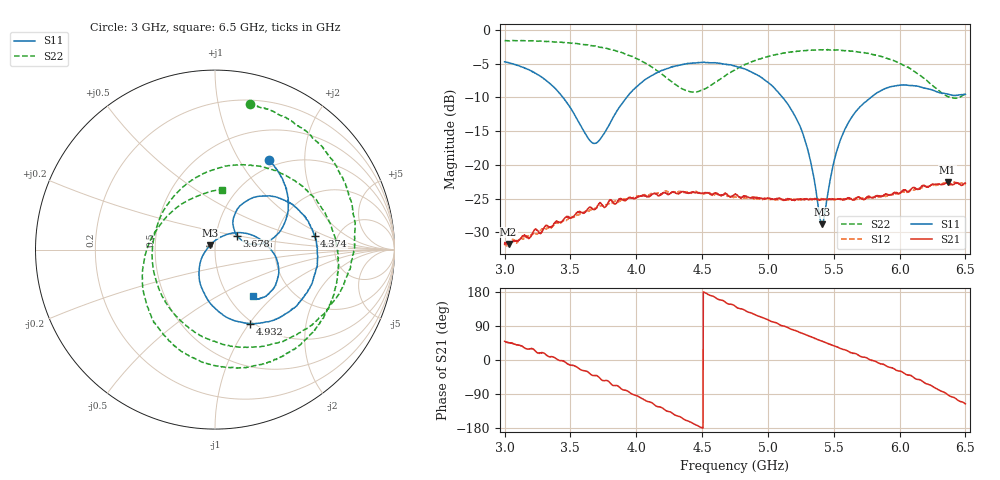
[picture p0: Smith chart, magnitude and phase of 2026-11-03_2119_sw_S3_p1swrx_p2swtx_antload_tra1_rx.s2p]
! HEWLETT PACKARD,8720ES,MY41003347,7.72, via bringup/vna_tests.py
! sw_S3_p1swrx_p2swtx_antload_tra1_rx
! measured 2026-11-03 21:20:45, 1601 points, 3000000000-6500000000 Hz, IF bandwidth 1000 Hz, source -40.00 dBm, kit CALK35MD
! board A, CTRL bits {'tr_a': 1} set before each sweep
# HZ S RI R 50
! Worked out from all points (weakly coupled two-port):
!   1601 points, 3 GHz to 6.5 GHz, reference 50 ohm
!   highest |S21| = -22.59 dB at 6.364 GHz (marker M1); lowest = -31.7 dB at 3.031 GHz (marker M2)
!   lowest |S11| = -28.8 dB at 5.411 GHz (marker M3), VSWR 1.08, Z = 47.4 + j2.38 ohm
!   |S11| at or under -10 dB: 3.443 GHz to 3.927 GHz (483.5 MHz wide, 13.1 % of centre); 5.112 GHz to 5.782 GHz (670 MHz wide, 12.3 % of centre)
!   |S22| runs from -10.1 to -1.5 dB; largest |S21 - S12| = 0.0044
!   S11 on the Smith chart (normalised r, x): 3 GHz: 0.90, +1.35; 3.678 GHz: 1.26, +0.20; 4.374 GHz: 3.37, +0.74; 4.932 GHz: 0.97, -1.01; 6.5 GHz: 1.30, -0.75
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3e9  0.3011 0.4975  0.0169 0.0197  0.0173 0.0191  0.193 0.8138
3.030625e9  0.327 0.4707  0.0181 0.0186  0.0174 0.0184  0.2438 0.7952
3.273438e9  0.4058 0.2033  0.0293 0.00991  0.0309 0.0109  0.5905 0.5802
3.584062e9  0.1881 0.0326  0.0397 -0.02  0.0395 -0.0183  0.778 0.0849
3.678125e9  0.1223 0.0767  0.0351 -0.0307  0.0362 -0.0304  0.7566 -0.0831
3.824688e9  0.1102 0.1959  0.02 -0.0484  0.024 -0.0467  0.6266 -0.3323
3.969062e9  0.2055 0.2874  3.43e-05 -0.0569  0.00138 -0.0568  0.3833 -0.5095
4.168125e9  0.411 0.2636  -0.0322 -0.0495  -0.0341 -0.0518  -0.063 -0.4886
4.37375e9  0.5548 0.0753  -0.0579 -0.0226  -0.0589 -0.0228  -0.3461 -0.0873
4.581562e9  0.5446 -0.1741  -0.0593 0.0118  -0.0578 0.014  -0.1609 0.3641
4.75e9  0.4213 -0.3404  -0.048 0.0372  -0.0452 0.0362  0.1862 0.4692
4.931562e9  0.1975 -0.4125  -0.0243 0.0515  -0.0238 0.0505  0.5103 0.3311
5.1875e9  -0.0615 -0.2396  0.0097 0.0541  0.00837 0.0543  0.6872 -0.0612
5.334062e9  -0.0777 -0.0566  0.0275 0.0481  0.0277 0.0485  0.6461 -0.2912
5.410625e9  -0.0263 0.0251  0.0358 0.0422  0.0364 0.0426  0.5933 -0.3972
5.51125e9  0.0751 0.0872  0.0446 0.0326  0.0455 0.0323  0.4883 -0.5171
5.594375e9  0.1683 0.0912  0.0507 0.0244  0.0511 0.023  0.3808 -0.5899
5.749688e9  0.2976 0.0146  0.0573 0.00578  0.0567 0.00401  0.1405 -0.6584
5.918125e9  0.3547 -0.1242  0.0566 -0.0191  0.0568 -0.0189  -0.1377 -0.5938
6.165312e9  0.2666 -0.2664  0.041 -0.056  0.0388 -0.0549  -0.4025 -0.209
6.364375e9  0.2039 -0.2655  -0.00144 -0.0742  -0.00209 -0.0728  -0.2528 0.1998
6.5e9  0.2132 -0.2572  -0.0318 -0.066  -0.0313 -0.064  0.0391 0.3341
